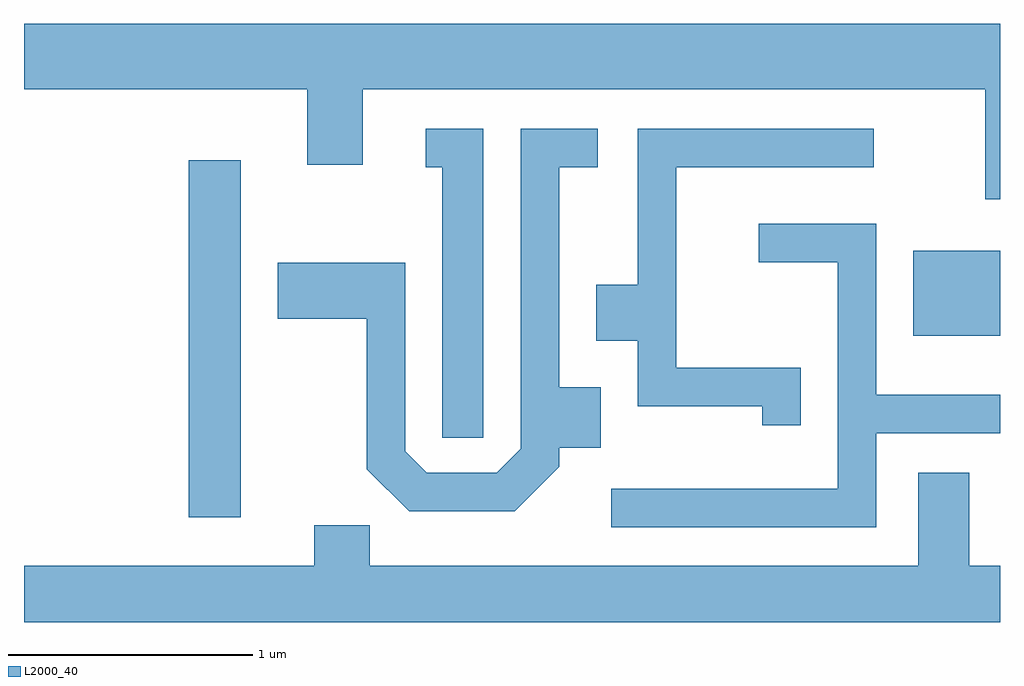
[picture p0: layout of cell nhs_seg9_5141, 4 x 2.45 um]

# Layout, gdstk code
import gdstk
lib = gdstk.Library(unit=1e-6, precision=1e-09)
def R(c, l, rs):  # rectangles x0, y0, x1, y1
    for r in rs: c.add(gdstk.rectangle(r[:2], r[2:], *l))
def P(c, l, *ps):  # polygons
    for p in ps: c.add(gdstk.Polygon(p, *l))
L2000_40 = (2000, 40)

nhs_seg9_5141 = lib.new_cell('nhs_seg9_5141')
R(nhs_seg9_5141, L2000_40, [(336.286,2078.861,336.499,2080.324), (339.256,2079.606,339.611,2079.954)])
P(nhs_seg9_5141, L2000_40, [(339.611,2080.884),(335.611,2080.884),(335.611,2080.616),(336.771,2080.616),(336.771,2080.306),(336.999,2080.306),(336.999,2080.616),(339.551,2080.616),(339.551,2080.166),(339.611,2080.166)],
  [(338.794,2079.474),(338.284,2079.474),(338.284,2080.296),(339.093,2080.296),(339.093,2080.454),(338.126,2080.454),(338.126,2079.814),(337.956,2079.814),(337.956,2079.586),(338.126,2079.586),(338.126,2079.316),(338.636,2079.316),(338.636,2079.238),(338.794,2079.238)],
  [(337.494,2080.454),(337.258,2080.454),(337.258,2080.296),(337.326,2080.296),(337.326,2079.188),(337.494,2079.188)],
  [(337.804,2079.068),(337.804,2079.146),(337.974,2079.146),(337.974,2079.394),(337.804,2079.394),(337.804,2080.296),(337.963,2080.296),(337.963,2080.454),(337.646,2080.454),(337.646,2079.142),(337.549,2079.044),(337.262,2079.044),(337.174,2079.132),(337.174,2079.904),(336.651,2079.904),(336.651,2079.676),(337.016,2079.676),(337.016,2079.059),(337.189,2078.886),(337.622,2078.886)],
  [(339.104,2079.206),(339.611,2079.206),(339.611,2079.364),(339.104,2079.364),(339.104,2080.064),(338.623,2080.064),(338.623,2079.906),(338.946,2079.906),(338.946,2078.979),(338.018,2078.979),(338.018,2078.821),(339.104,2078.821)],
  [(339.611,2078.664),(339.484,2078.664),(339.484,2079.044),(339.276,2079.044),(339.276,2078.664),(337.029,2078.664),(337.029,2078.829),(336.801,2078.829),(336.801,2078.664),(335.611,2078.664),(335.611,2078.432),(339.611,2078.432)])

lib.write_gds('nhs_seg9_5141.gds')
